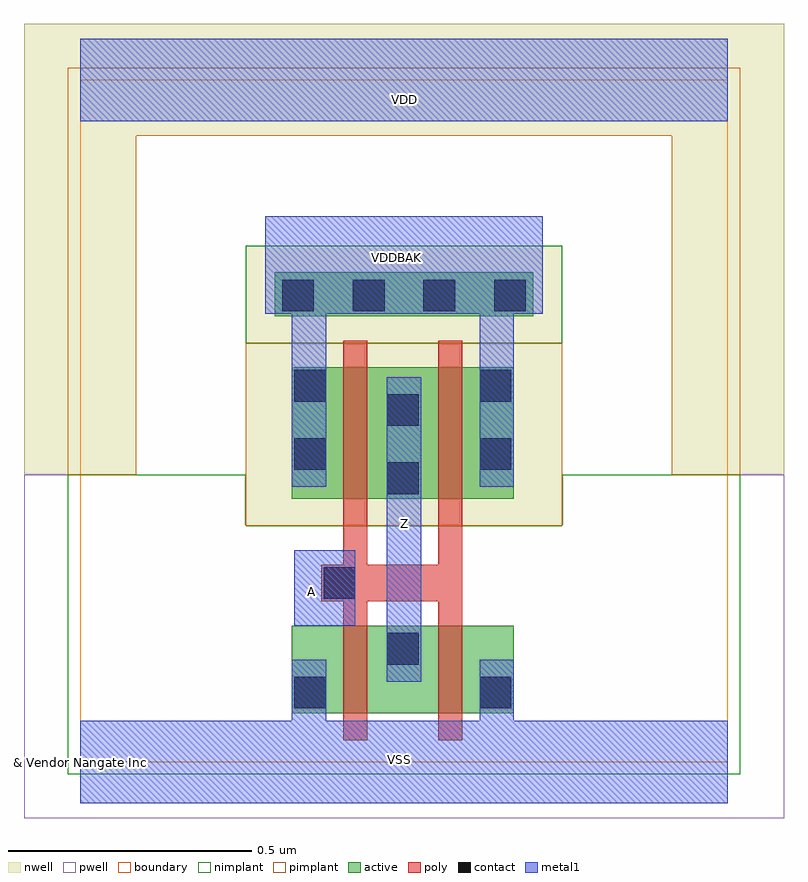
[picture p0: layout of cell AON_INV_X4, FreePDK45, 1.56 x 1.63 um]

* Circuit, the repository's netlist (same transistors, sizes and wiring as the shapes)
* 
* ******************************************************************************
* *                                                                            *
* *                   Copyright (C) 2004-2011, Nangate Inc.                    *
* *                           All rights reserved.                             *
* *                                                                            *
* * Nangate and the Nangate logo are trademarks of Nangate Inc.                *
* *                                                                            *
* * All trademarks, logos, software marks, and trade names (collectively the   *
* * "Marks") in this program are proprietary to Nangate or other respective    *
* * owners that have granted Nangate the right and license to use such Marks.  *
* * You are not permitted to use the Marks without the prior written consent   *
* * of Nangate or such third party that may own the Marks.                     *
* *                                                                            *
* * This file has been provided pursuant to a License Agreement containing     *
* * restrictions on its use. This file contains valuable trade secrets and     *
* * proprietary information of Nangate Inc., and is protected by U.S. and      *
* * international laws and/or treaties.                                        *
* *                                                                            *
* * The copyright notice(s) in this file does not indicate actual or intended  *
* * publication of this file.                                                  *
* *                                                                            *
* *     NGLibraryCreator, v2010.08-HR32-SP3-2010-08-05 - build 1009061800      *
* *                                                                            *
* ******************************************************************************
* 
* 
* Running on server08.nangate.com for user Giancarlo Franciscatto (gfr).
* Local time is now Thu, 6 Jan 2011, 19:45:44.
* Main process id is 3320.
*
********************************************************************************
*                                                                              *
* Cellname:   AON_INV_X4.                                                      *
*                                                                              *
* Technology: NCSU FreePDK 45nm.                                               *
* Format:     Cdl.                                                             *
*                                                                              *
* Written on server08.nangate.com for user Giancarlo Franciscatto (gfr)        *
* at 19:45:44 on Thu, 6 Jan 2011.                                              *
*                                                                              *
********************************************************************************
.SUBCKT AON_INV_X4 A Z VDD VDDBAK VSS 
*.PININFO A:I Z:O VDD:P VDDBAK:P VSS:G 
*.EQN Z=!A
M_i_0 Z A VSS VSS NMOS_VTL W=0.180000U L=0.050000U
M_i_7 VSS A Z VSS NMOS_VTL W=0.180000U L=0.050000U
M_i_13 Z A VDDBAK VDDBAK PMOS_VTL W=0.270000U L=0.050000U
M_i_20 VDDBAK A Z VDDBAK PMOS_VTL W=0.270000U L=0.050000U
.ENDS 

********************************************************************************
*
* END
*
********************************************************************************

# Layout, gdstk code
import gdstk
lib = gdstk.Library(unit=1e-6, precision=1e-10)
def R(c, l, rs):  # rectangles x0, y0, x1, y1
    for r in rs: c.add(gdstk.rectangle(r[:2], r[2:], *l))
def A(c, l, x, y, w, h, nx, ny, dx, dy):  # array of equal rectangles
    R(c, l, [(x+i*dx, y+j*dy, x+i*dx+w, y+j*dy+h) for i in range(nx) for j in range(ny)])
def P(c, l, *ps):  # polygons
    for p in ps: c.add(gdstk.Polygon(p, *l))
active = (1, 0)
pwell = (2, 0)
nwell = (3, 0)
nimplant = (4, 0)
pimplant = (5, 0)
poly = (9, 0)
contact = (10, 0)
metal1 = (11, 0)
boundary = (235, 0)

aon_inv_x4 = lib.new_cell('AON_INV_X4')
R(aon_inv_x4, active, [(0.435,0.1,0.89,0.28), (0.435,0.54,0.89,0.81), (0.4,0.915,0.93,1.005)])
P(aon_inv_x4, pwell, [(-0.115,-0.115),(1.445,-0.115),(1.445,0.59),(0.99,0.59),(0.99,0.485),(0.34,0.485),(0.34,0.59),(-0.115,0.59)])
R(aon_inv_x4, nwell, [(0.34,0.485,0.99,1.06)])
P(aon_inv_x4, nwell, [(-0.115,0.59),(0.115,0.59),(0.115,1.285),(1.215,1.285),(1.215,0.59),(1.445,0.59),(1.445,1.515),(-0.115,1.515)])
R(aon_inv_x4, nimplant, [(0.34,0.86,0.99,1.06)])
P(aon_inv_x4, nimplant, [(-0.025,-0.025),(1.355,-0.025),(1.355,0.59),(0.99,0.59),(0.99,0.485),(0.34,0.485),(0.34,0.59),(-0.025,0.59)])
R(aon_inv_x4, pimplant, [(0.34,0.485,0.99,0.86)])
P(aon_inv_x4, pimplant, [(-0.025,0.59),(0.115,0.59),(0.115,1.285),(1.215,1.285),(1.215,0.59),(1.355,0.59),(1.355,1.425),(-0.025,1.425)])
P(aon_inv_x4, poly, [(0.495,0.33),(0.54,0.33),(0.54,0.045),(0.59,0.045),(0.59,0.33),(0.735,0.33),(0.735,0.045),(0.785,0.045),(0.785,0.865),(0.735,0.865),(0.735,0.405),(0.59,0.405),(0.59,0.865),(0.54,0.865),(0.54,0.405),(0.495,0.405)])
A(aon_inv_x4, contact, 0.415, 0.925, 0.065, 0.065, 4, 1, 0.145, 0)
R(aon_inv_x4, contact, [(0.44,0.11,0.505,0.175), (0.82,0.11,0.885,0.175), (0.63,0.2,0.695,0.265), (0.5,0.335,0.565,0.4), (0.63,0.55,0.695,0.615), (0.44,0.6,0.505,0.665), (0.82,0.6,0.885,0.665), (0.63,0.69,0.695,0.755), (0.44,0.74,0.505,0.805), (0.82,0.74,0.885,0.805)])
R(aon_inv_x4, metal1, [(0.63,0.165,0.7,0.79), (0.44,0.28,0.565,0.435), (0,1.315,1.33,1.485)])
P(aon_inv_x4, metal1, [(0.38,0.92),(0.435,0.92),(0.435,0.565),(0.505,0.565),(0.505,0.92),(0.82,0.92),(0.82,0.565),(0.89,0.565),(0.89,0.92),(0.95,0.92),(0.95,1.12),(0.38,1.12)],
  [(0,-0.085),(1.33,-0.085),(1.33,0.085),(0.89,0.085),(0.89,0.21),(0.82,0.21),(0.82,0.085),(0.505,0.085),(0.505,0.21),(0.435,0.21),(0.435,0.085),(0,0.085)])
R(aon_inv_x4, boundary, [(0,0,1.33,1.4)])
aon_inv_x4.add(gdstk.Label('Z', (0.665,0.49), layer=11, texttype=0))
aon_inv_x4.add(gdstk.Label('A', (0.475,0.35), layer=11, texttype=0))
aon_inv_x4.add(gdstk.Label('VSS', (0.655,0.005), layer=11, texttype=0))
aon_inv_x4.add(gdstk.Label('VDDBAK', (0.65,1.035), layer=11, texttype=0))
aon_inv_x4.add(gdstk.Label('VDD', (0.665,1.36), layer=11, texttype=0))
aon_inv_x4.add(gdstk.Label('& Vendor Nangate Inc', (0,0), layer=63, texttype=63))
aon_inv_x4.add(gdstk.Label('& Product Open Cell Library', (0,0), layer=63, texttype=63))
aon_inv_x4.add(gdstk.Label('& Version 2010_12', (0,0), layer=63, texttype=63))
aon_inv_x4.add(gdstk.Label('& Instance AON_INV_X4', (0,0), layer=63, texttype=63))

lib.write_gds('AON_INV_X4.gds')
